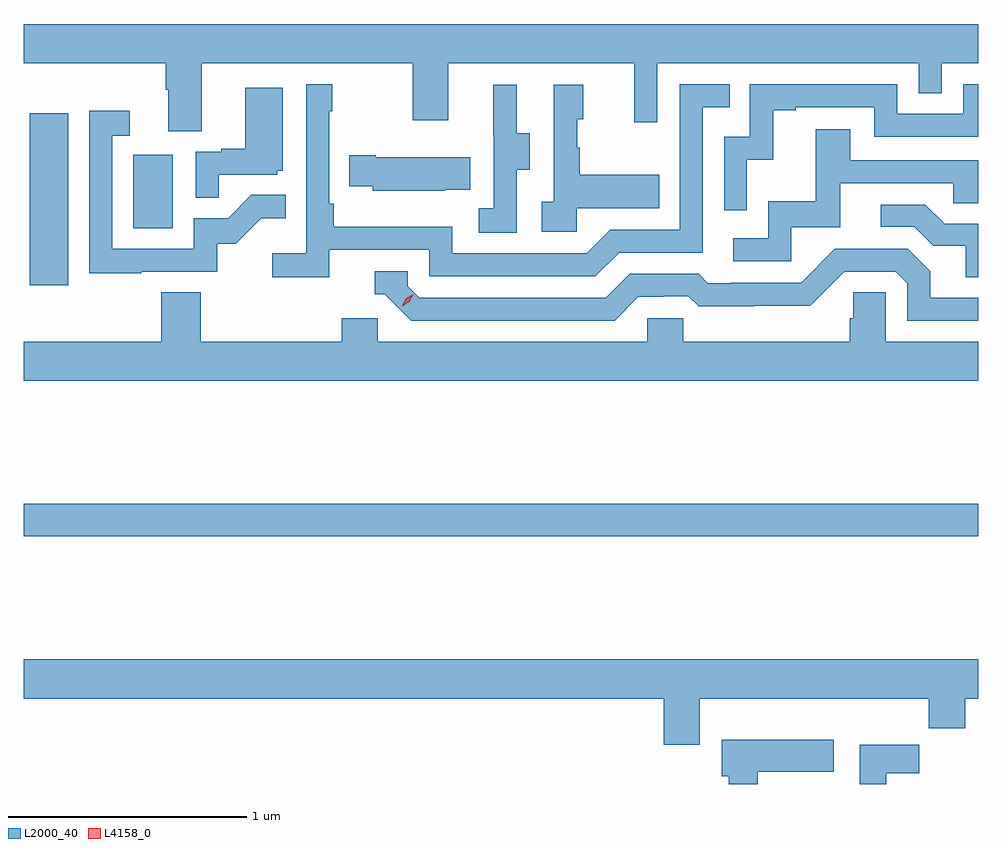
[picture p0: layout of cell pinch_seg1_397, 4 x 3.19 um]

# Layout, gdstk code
import gdstk
lib = gdstk.Library(unit=1e-6, precision=1e-09)
def R(c, l, rs):  # rectangles x0, y0, x1, y1
    for r in rs: c.add(gdstk.rectangle(r[:2], r[2:], *l))
def P(c, l, *ps):  # polygons
    for p in ps: c.add(gdstk.Polygon(p, *l))
L2000_40 = (2000, 40)
L4158_0 = (4158, 0)

pinch_seg1_397 = lib.new_cell('pinch_seg1_397')
R(pinch_seg1_397, L2000_40, [(994.253,524.44,998.253,524.576), (994.277,525.492,994.438,526.213), (994.712,525.732,994.876,526.039)])
P(pinch_seg1_397, L2000_40, [(994.999,526.424),(995.884,526.424),(995.884,526.185),(996.031,526.185),(996.031,526.424),(996.812,526.424),(996.812,526.176),(996.909,526.176),(996.909,526.424),(998.004,526.424),(998.004,526.297),(998.1,526.297),(998.1,526.424),(998.253,526.424),(998.253,526.588),(994.253,526.588),(994.253,526.424),(994.847,526.424),(994.847,526.312),(994.859,526.312),(994.859,526.138),(994.999,526.138)],
  [(995.534,525.642),(995.952,525.642),(995.952,525.531),(996.649,525.531),(996.748,525.63),(997.098,525.63),(997.098,526.239),(997.211,526.239),(997.211,526.335),(997.002,526.335),(997.002,525.726),(996.711,525.726),(996.612,525.627),(996.048,525.627),(996.048,525.739),(995.552,525.739),(995.552,525.835),(995.532,525.835),(995.532,526.223),(995.545,526.223),(995.545,526.336),(995.436,526.336),(995.436,525.628),(995.295,525.628),(995.295,525.526),(995.534,525.526)],
  [(997.284,526.019),(997.394,526.019),(997.394,526.227),(997.489,526.227),(997.489,526.239),(997.818,526.239),(997.818,526.116),(998.253,526.116),(998.253,526.335),(998.19,526.335),(998.19,526.212),(997.914,526.212),(997.914,526.335),(997.296,526.335),(997.296,526.116),(997.188,526.116),(997.188,525.807),(997.284,525.807)],
  [(996.57,525.815),(996.917,525.815),(996.917,525.955),(996.583,525.955),(996.583,526.07),(996.573,526.07),(996.573,526.188),(996.598,526.188),(996.598,526.333),(996.474,526.333),(996.474,525.842),(996.423,525.842),(996.423,525.717),(996.57,525.717)],
  [(996.318,525.976),(996.373,525.976),(996.373,526.131),(996.319,526.131),(996.319,526.333),(996.221,526.333),(996.221,526.119),(996.222,526.119),(996.222,525.815),(996.159,525.815),(996.159,525.712),(996.318,525.712)],
  [(995.069,525.957),(995.316,525.957),(995.316,525.972),(995.338,525.972),(995.338,526.321),(995.18,526.321),(995.18,526.066),(995.081,526.066),(995.081,526.053),(994.974,526.053),(994.974,525.859),(995.069,525.859)],
  [(994.745,525.549),(995.064,525.549),(995.064,525.666),(995.14,525.666),(995.247,525.773),(995.351,525.773),(995.351,525.872),(995.207,525.872),(995.109,525.774),(994.965,525.774),(994.965,525.645),(994.623,525.645),(994.623,526.119),(994.696,526.119),(994.696,526.225),(994.527,526.225),(994.527,525.544),(994.745,525.544)],
  [(997.47,525.735),(997.675,525.735),(997.675,525.921),(998.149,525.921),(998.149,525.837),(998.253,525.837),(998.253,526.017),(997.717,526.017),(997.717,526.147),(997.573,526.147),(997.573,525.844),(997.374,525.844),(997.374,525.69),(997.227,525.69),(997.227,525.594),(997.47,525.594)],
  [(996.017,525.893),(996.125,525.893),(996.125,526.03),(995.728,526.03),(995.728,526.038),(995.617,526.038),(995.617,525.908),(995.715,525.908),(995.715,525.89),(996.017,525.89)],
  [(998.253,525.75),(998.113,525.75),(998.032,525.831),(997.845,525.831),(997.845,525.738),(997.986,525.738),(998.066,525.658),(998.201,525.658),(998.201,525.526),(998.253,525.526)],
  [(996.829,525.444),(996.936,525.444),(996.936,525.447),(997.039,525.447),(997.081,525.405),(997.314,525.405),(997.314,525.407),(997.55,525.407),(997.692,525.549),(997.908,525.549),(997.956,525.501),(997.956,525.345),(998.253,525.345),(998.253,525.441),(998.053,525.441),(998.053,525.551),(997.959,525.645),(997.653,525.645),(997.512,525.504),(997.219,525.504),(997.219,525.501),(997.12,525.501),(997.081,525.54),(996.792,525.54),(996.693,525.441),(995.91,525.441),(995.862,525.489),(995.862,525.552),(995.723,525.552),(995.723,525.456),(995.766,525.456),(995.877,525.345),(996.73,525.345)],
  [(998.253,525.256),(997.866,525.256),(997.866,525.464),(997.729,525.464),(997.729,525.354),(997.715,525.354),(997.715,525.256),(997.017,525.256),(997.017,525.354),(996.867,525.354),(996.867,525.256),(995.736,525.256),(995.736,525.354),(995.585,525.354),(995.585,525.256),(994.994,525.256),(994.994,525.464),(994.829,525.464),(994.829,525.256),(994.253,525.256),(994.253,525.092),(998.253,525.092)],
  [(997.087,523.76),(998.047,523.76),(998.047,523.636),(998.199,523.636),(998.199,523.76),(998.253,523.76),(998.253,523.924),(994.253,523.924),(994.253,523.76),(996.935,523.76),(996.935,523.566),(997.087,523.566)],
  [(997.33,523.454),(997.648,523.454),(997.648,523.588),(997.178,523.588),(997.178,523.434),(997.208,523.434),(997.208,523.402),(997.33,523.402)],
  [(997.867,523.448),(998.006,523.448),(998.006,523.567),(997.757,523.567),(997.757,523.402),(997.867,523.402)])
P(pinch_seg1_397, L4158_0, [(995.838,525.404),(995.838,525.404),(995.854,525.436),(995.885,525.455),(995.886,525.455),(995.886,525.455),(995.869,525.423),(995.838,525.404)])

lib.write_gds('pinch_seg1_397.gds')
